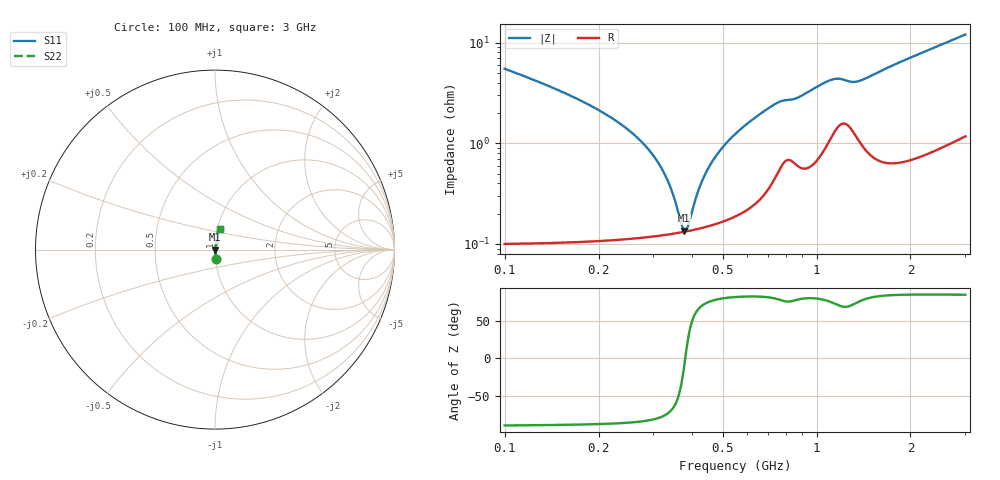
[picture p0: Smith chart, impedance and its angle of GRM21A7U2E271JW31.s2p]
!Murata Part Number: GRM21A7U2E271JW31
!These Parameters are Measured in Series Mode Connection
!Data Generated on Mar 30, 2021
!  o--ll--o
!Port1  Port2
!  o------o
!Operation Temp=25[degC], DC Bias Voltage=0[V]
!Freq. Start=100[MHz] Stop=3[GHz] 401[Steps]
# Hz S RI R 50
!Freq.(Hz) S11(Real) S11(Imag) S21(Real) S21(Imag) S12(Real) S12(Imag) S22(Real) S22(Imag)
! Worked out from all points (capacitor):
!   401 points, 100 MHz to 3 GHz, reference 50 ohm
!   read as one part in series: C = 270 pF near 114.5 MHz
!   lowest |Z| = 136 mohm at 375.5 MHz (marker M1)
!   series resonance near 379.3 MHz, so ESL is about 650 pH
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1e8  0.004 -0.0546  0.996 0.0546  0.996 0.0546  0.004 -0.0546
2.3775e8  0.00133 -0.0151  0.9987 0.0151  0.9987 0.0151  0.00133 -0.0151
2.885e8  0.00124 -0.00866  0.9988 0.00866  0.9988 0.00866  0.00124 -0.00866
3.2475e8  0.00125 -0.00489  0.9988 0.00489  0.9988 0.00489  0.00125 -0.00489
3.3925e8  0.00126 -0.00351  0.9987 0.00351  0.9987 0.00351  0.00126 -0.00351
3.6825e8  0.0013 -0.000929  0.9987 0.000929  0.9987 0.000929  0.0013 -0.000929
3.755e8  0.00132 -0.000315  0.9987 0.000315  0.9987 0.000315  0.00132 -0.000315
3.8275e8  0.00133 0.000287  0.9987 -0.000287  0.9987 -0.000287  0.00133 0.000287
3.9e8  0.00135 0.000879  0.9987 -0.000879  0.9987 -0.000879  0.00135 0.000879
4.2625e8  0.00145 0.0037  0.9986 -0.0037  0.9986 -0.0037  0.00145 0.0037
4.625e8  0.00158 0.00635  0.9984 -0.00635  0.9984 -0.00635  0.00158 0.00635
5.1325e8  0.00181 0.00983  0.9982 -0.00983  0.9982 -0.00983  0.00181 0.00983
5.8575e8  0.00229 0.0146  0.9977 -0.0146  0.9977 -0.0146  0.00229 0.0146
7.4525e8  0.00543 0.0243  0.9946 -0.0243  0.9946 -0.0243  0.00543 0.0243
8.6125e8  0.00679 0.0269  0.9932 -0.0269  0.9932 -0.0269  0.00679 0.0269
1.0715e9  0.0106 0.0387  0.9894 -0.0387  0.9894 -0.0387  0.0106 0.0387
1.16575e9  0.0157 0.0401  0.9843 -0.0401  0.9843 -0.0401  0.0157 0.0401
1.33975e9  0.013 0.0382  0.987 -0.0382  0.987 -0.0382  0.013 0.0382
1.55e9  0.00923 0.0481  0.9908 -0.0481  0.9908 -0.0481  0.00923 0.0481
2.03575e9  0.0119 0.0708  0.9881 -0.0708  0.9881 -0.0708  0.0119 0.0708
2.5215e9  0.0177 0.0926  0.9823 -0.0926  0.9823 -0.0926  0.0177 0.0926
3e9  0.0252 0.1152  0.9748 -0.1152  0.9748 -0.1152  0.0252 0.1152
